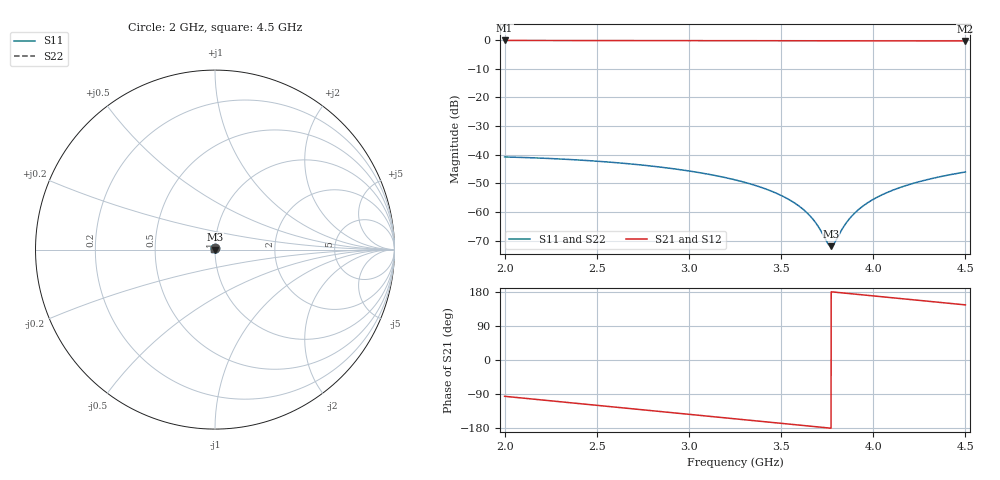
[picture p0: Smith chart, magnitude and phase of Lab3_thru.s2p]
! Touchstone file from project Lab 3
! Exported from Circuit Design 2017.1.0
! Variables:
!  $thru = 40mm
!  thru = 22mm
!  width = 3.01746mm
!Data is not renormalized
# GHZ S MA
! Modal data exported
! Port[1] = n1
! Port[2] = n2
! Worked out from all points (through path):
!   2501 points, 2 GHz to 4.5 GHz, reference per port
!   highest |S21| = -0.14 dB at 2 GHz (marker M1); lowest = -0.3 dB at 4.5 GHz (marker M2)
!   group delay of S21, straight-line fit = 132 ps
!   lowest |S11| = -71.9 dB at 3.771 GHz (marker M3), VSWR 1.00
!   |S11| at or under -10 dB: start of sweep to end of sweep
!   |S22| runs from -71.9 to -40.8 dB; largest |S21 - S12| = 1.2e-13
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2  0.009132 102.2  0.9845 -95.8  0.9845 -95.8  0.009132 102.2
! Port Impedance50 0 50 0
2.206  0.008687 89.2  0.9829 -105.6  0.9829 -105.6  0.008687 89.2
2.417  0.008021 76.1  0.9813 -115.7  0.9813 -115.7  0.008021 76.1
2.621  0.007186 63.8  0.9798 -125.4  0.9798 -125.4  0.007186 63.8
2.834  0.006134 51.2  0.9782 -135.5  0.9782 -135.5  0.006134 51.2
3.06  0.004842 38.4  0.9765 -146.2  0.9765 -146.2  0.004842 38.4
3.25  0.003641 28.2  0.9751 -155.3  0.9751 -155.3  0.003641 28.2
3.393  0.002684 21.3  0.974 -162.0  0.974 -162.0  0.002684 21.3
3.508  0.001892 17.0  0.9732 -167.5  0.9732 -167.5  0.001892 17.0
3.598  0.001264 15.7  0.9725 -171.8  0.9725 -171.8  0.001264 15.7
3.667  0.000788 18.9  0.972 -175.1  0.972 -175.1  0.000788 18.9
3.704  0.0005436 25.8  0.9718 -176.8  0.9718 -176.8  0.0005436 25.8
3.753  0.0002842 58.3  0.9714 -179.1  0.9714 -179.1  0.0002842 58.3
3.771  0.0002532 84.4  0.9713 -180.0  0.9713 -180.0  0.0002532 84.4
3.79  0.000288 111.6  0.9711 179.1  0.9711 179.1  0.000288 111.6
3.83  0.0004946 140.1  0.9708 177.2  0.9708 177.2  0.0004946 140.1
3.856  0.0006621 147.0  0.9707 176.0  0.9707 176.0  0.0006621 147.0
3.906  0.001003 152.0  0.9703 173.6  0.9703 173.6  0.001003 152.0
3.984  0.001548 152.9  0.9697 169.9  0.9697 169.9  0.001548 152.9
4.084  0.002248 150.2  0.969 165.2  0.969 165.2  0.002248 150.2
4.267  0.003498 142.4  0.9677 156.5  0.9677 156.5  0.003498 142.4
4.5  0.004988 130.9  0.966 145.4  0.966 145.4  0.004988 130.9
